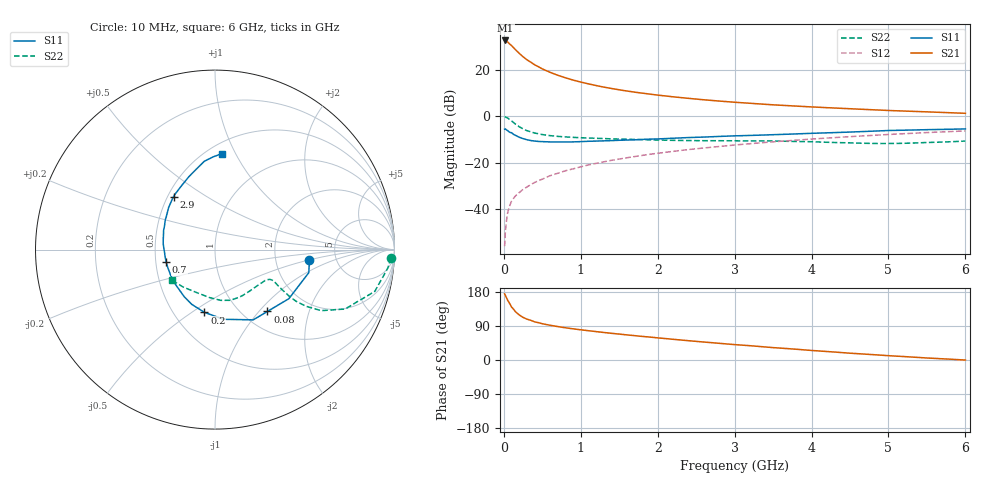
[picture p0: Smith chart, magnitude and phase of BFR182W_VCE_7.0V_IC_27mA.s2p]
! Infineon Technologies  Discrete & RF Semiconductors
! BFR182W
! VCE =  7.0 V,  IC =  27 mA
! Common Emitter S-Parameters:  Jan 2017
# GHz  S  MA  R  50
!  f  S11  S21  S12  S22
! GHz  MAG  ANG  MAG  ANG  MAG  ANG  MAG  ANG
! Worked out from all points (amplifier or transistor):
!   77 points, 10 MHz to 6 GHz, reference 50 ohm
!   highest |S21| = 32.7 dB at 20 MHz (marker M1)
!   |S21| within 3 dB of that: start of sweep to 123.1 MHz
!   unconditionally stable (mu >= 1): 753.5 MHz to 2.271 GHz
!   at 130 MHz: K = 0.48, MSG = 32.3 dB, |S12| = -35.1 dB
!   at 2.2 GHz: K = 1.01, MAG = 11.3 dB, |S12| = -15.1 dB
!   at 6 GHz: K = 0.86, MSG = 3.8 dB, |S12| = -6.3 dB
!   S11 on the Smith chart (normalised r, x): 10 MHz: 3.15, -0.53; 80 MHz: 1.28, -1.11; 200 MHz: 0.70, -0.56; 700 MHz: 0.57, -0.08; 2.9 GHz: 0.54, +0.37; 6 GHz: 0.59, +0.88
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0.01  0.5294 -6.5  42.96 174.5  0.0016 93.2  0.98 -2.7
0.02  0.5382 -13.8  43.12 170.3  0.0033 102.0  0.9691 -6.0
0.05  0.4943 -33.6  39.87 157.4  0.0084 77.4  0.9205 -14.6
0.08  0.4517 -49.7  35.63 147.6  0.0123 72.5  0.8428 -20.2
0.1  0.4456 -61.5  33.5 139.9  0.0149 70.7  0.7963 -24.6
0.15  0.3912 -83.0  27.43 127.6  0.0193 66.3  0.6822 -29.9
0.2  0.3547 -99.5  22.72 118.9  0.0228 66.7  0.5975 -31.9
0.25  0.3316 -112.9  19.24 112.4  0.0268 66.1  0.5368 -32.5
0.3  0.3138 -123.0  16.55 107.8  0.0301 66.8  0.4921 -32.2
0.4  0.2939 -138.2  12.92 100.7  0.0377 69.3  0.4375 -30.9
0.5  0.2856 -149.6  10.53 95.7  0.0445 69.8  0.4053 -29.8
0.6  0.2816 -158.8  8.897 91.7  0.0526 71.0  0.3845 -28.8
0.7  0.2808 -165.8  7.686 88.2  0.0594 72.2  0.3707 -28.3
0.9  0.2818 -177.5  6.042 82.3  0.0739 72.3  0.353 -28.3
1.1  0.2905 173.4  5.006 77.3  0.0899 72.4  0.3418 -29.2
1.5  0.3055 159.8  3.731 68.4  0.1204 71.2  0.3242 -33.1
2.1  0.3319 144.0  2.75 56.6  0.1681 67.8  0.3065 -43.3
2.9  0.3747 127.9  2.074 42.3  0.2329 62.0  0.2979 -60.6
3.1  0.384 124.2  1.963 39.2  0.2494 60.4  0.2964 -64.7
4.1  0.4362 108.4  1.568 23.8  0.3324 51.7  0.2803 -86.0
5.1  0.4995 95.7  1.32 10.2  0.4147 42.2  0.2612 -116.7
6  0.5363 85.9  1.164 -0.1  0.4854 33.0  0.2936 -144.3
